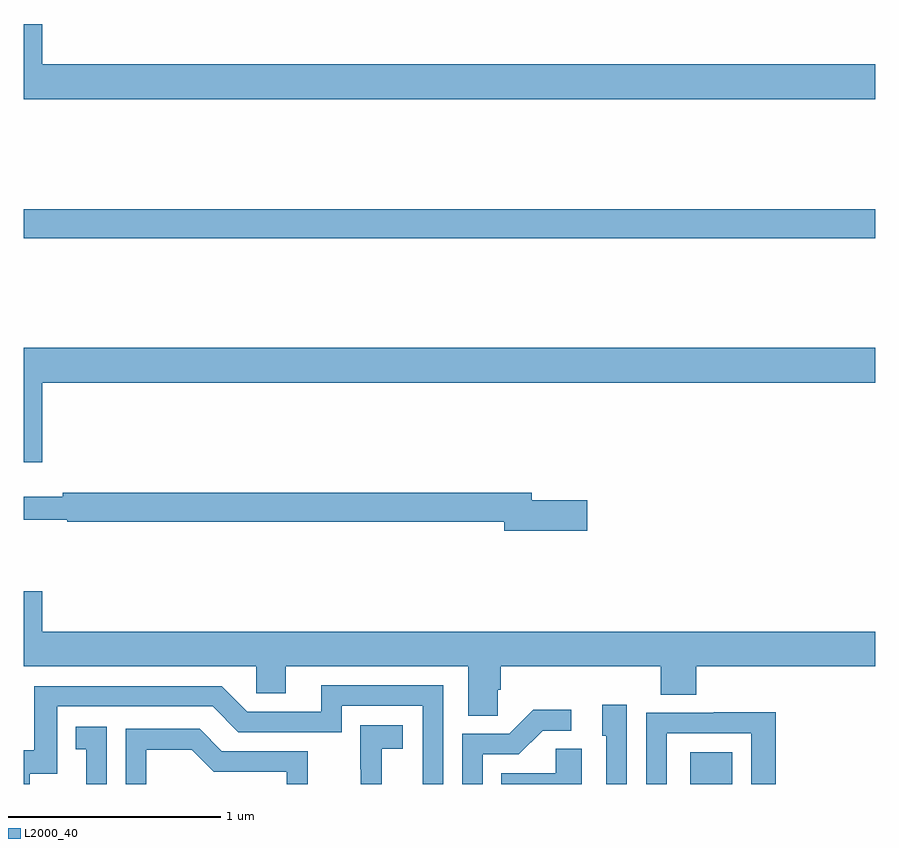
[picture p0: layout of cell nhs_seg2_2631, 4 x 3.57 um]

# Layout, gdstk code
import gdstk
lib = gdstk.Library(unit=1e-6, precision=1e-09)
def R(c, l, rs):  # rectangles x0, y0, x1, y1
    for r in rs: c.add(gdstk.rectangle(r[:2], r[2:], *l))
def P(c, l, *ps):  # polygons
    for p in ps: c.add(gdstk.Polygon(p, *l))
L2000_40 = (2000, 40)

nhs_seg2_2631 = lib.new_cell('nhs_seg2_2631')
R(nhs_seg2_2631, L2000_40, [(252.131,597.8,252.328,597.949), (249,600.364,253,600.5)])
P(nhs_seg2_2631, L2000_40, [(253,601.18),(249.088,601.18),(249.088,601.369),(249,601.369),(249,601.016),(253,601.016)],
  [(249.088,599.684),(253,599.684),(253,599.848),(249,599.848),(249,599.31),(249.088,599.31)],
  [(251.647,599.132),(251.386,599.132),(251.386,599.168),(249.184,599.168),(249.184,599.149),(249,599.149),(249,599.04),(249.206,599.04),(249.206,599.032),(251.258,599.032),(251.258,598.99),(251.647,598.99)],
  [(251.226,598.243),(251.24,598.243),(251.24,598.352),(251.993,598.352),(251.993,598.219),(252.158,598.219),(252.158,598.352),(253,598.352),(253,598.516),(249.088,598.516),(249.088,598.705),(249,598.705),(249,598.352),(250.092,598.352),(250.092,598.225),(250.231,598.225),(250.231,598.352),(251.087,598.352),(251.087,598.12),(251.226,598.12)],
  [(249.03,597.849),(249.159,597.849),(249.159,598.164),(249.888,598.164),(250.008,598.044),(250.494,598.044),(250.494,598.167),(250.875,598.167),(250.875,597.8),(250.971,597.8),(250.971,598.263),(250.397,598.263),(250.397,598.14),(250.05,598.14),(249.93,598.26),(249.051,598.26),(249.051,597.958),(249,597.958),(249,597.8),(249.03,597.8)],
  [(251.832,598.171),(251.717,598.171),(251.717,598.026),(251.736,598.026),(251.736,597.8),(251.832,597.8)],
  [(251.157,597.939),(251.326,597.939),(251.437,598.05),(251.572,598.05),(251.572,598.148),(251.393,598.148),(251.28,598.035),(251.061,598.035),(251.061,597.8),(251.157,597.8)],
  [(252.021,598.038),(252.417,598.038),(252.417,597.8),(252.533,597.8),(252.533,598.136),(252.241,598.136),(252.241,598.134),(251.925,598.134),(251.925,597.8),(252.021,597.8)],
  [(250.682,597.965),(250.78,597.965),(250.78,598.075),(250.582,598.075),(250.582,597.869),(250.583,597.869),(250.583,597.8),(250.682,597.8)],
  [(249.39,598.069),(249.244,598.069),(249.244,597.963),(249.293,597.963),(249.293,597.8),(249.39,597.8)],
  [(249.576,597.962),(249.79,597.962),(249.894,597.858),(250.236,597.858),(250.236,597.8),(250.335,597.8),(250.335,597.954),(249.931,597.954),(249.826,598.059),(249.48,598.059),(249.48,597.8),(249.576,597.8)],
  [(251.62,597.965),(251.499,597.965),(251.499,597.85),(251.242,597.85),(251.242,597.8),(251.62,597.8)])

lib.write_gds('nhs_seg2_2631.gds')
